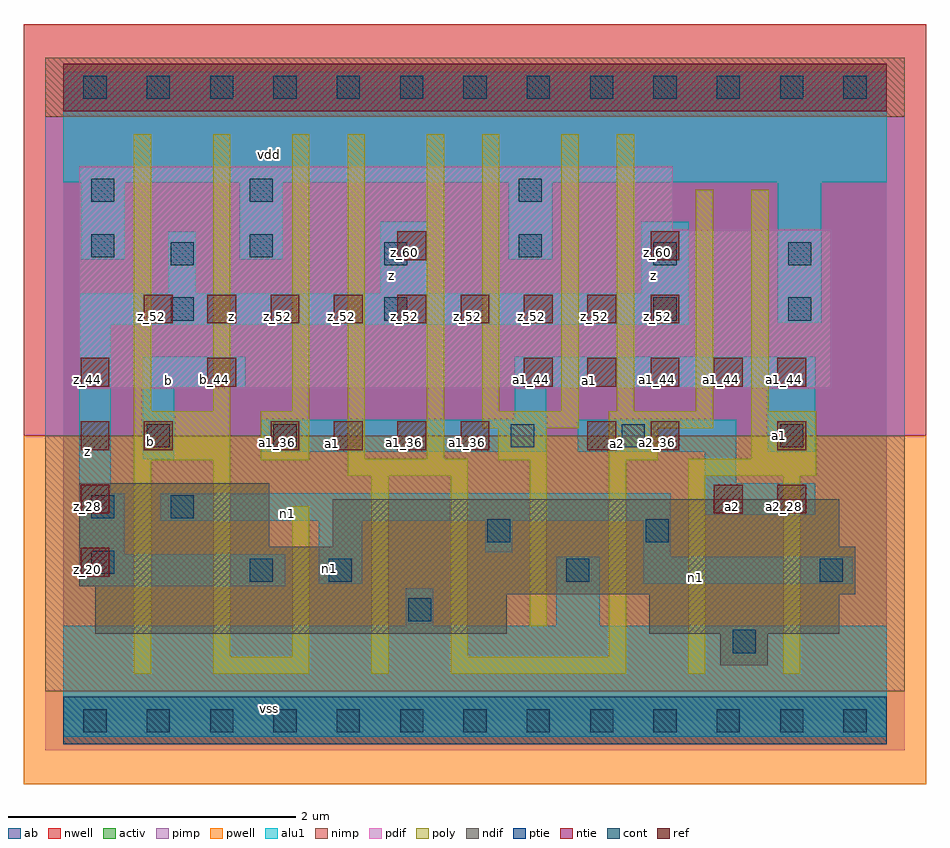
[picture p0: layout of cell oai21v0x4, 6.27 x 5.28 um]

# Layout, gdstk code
import gdstk
lib = gdstk.Library(unit=1e-6, precision=2.5e-09)
def R(c, l, rs):  # rectangles x0, y0, x1, y1
    for r in rs: c.add(gdstk.rectangle(r[:2], r[2:], *l))
def A(c, l, x, y, w, h, nx, ny, dx, dy):  # array of equal rectangles
    R(c, l, [(x+i*dx, y+j*dy, x+i*dx+w, y+j*dy+h) for i in range(nx) for j in range(ny)])
ndif = (3, 0)
pdif = (4, 0)
ntie = (5, 0)
ptie = (6, 0)
ref = (24, 0)
cont = (25, 0)
pwell = (41, 0)
nwell = (42, 0)
activ = (43, 0)
pimp = (44, 0)
nimp = (45, 0)
poly = (46, 0)
alu1 = (49, 0)
ab = (63, 0)

oai21v0x4 = lib.new_cell('oai21v0x4')
R(oai21v0x4, ndif, [(4.565,0.385,4.895,0.605), (0.22,0.605,3.08,0.88), (4.07,0.605,5.39,0.88), (0.22,0.88,5.5,0.935), (0.11,0.935,5.5,1.21), (0.11,1.21,1.43,1.65), (1.87,1.21,5.39,1.54)])
R(oai21v0x4, pdif, [(0.11,2.31,5.335,3.41), (0.11,3.41,4.235,3.85)])
R(oai21v0x4, ntie, [(0,4.235,5.72,4.565)])
R(oai21v0x4, ptie, [(0,-0.165,5.72,0.165)])
A(oai21v0x4, ref, 0.12, 1, 0.2, 0.2, 1, 4, 0, 0.44)
A(oai21v0x4, ref, 1.44, 1.88, 0.2, 0.2, 4, 1, 0.44, 0)
A(oai21v0x4, ref, 3.2, 2.32, 0.2, 0.2, 5, 1, 0.44, 0)
A(oai21v0x4, ref, 0.56, 2.76, 0.2, 0.2, 9, 1, 0.44, 0)
R(oai21v0x4, ref, [(4.52,1.44,4.72,1.64), (4.96,1.44,5.16,1.64), (0.56,1.88,0.76,2.08), (3.64,1.88,3.84,2.08), (4.08,1.88,4.28,2.08), (4.96,1.88,5.16,2.08), (1,2.32,1.2,2.52), (2.32,3.2,2.52,3.4), (4.08,3.2,4.28,3.4)])
A(oai21v0x4, cont, 0.14, -0.08, 0.16, 0.16, 13, 2, 0.44, 4.4)
R(oai21v0x4, cont, [(4.65,0.47,4.81,0.63), (2.395,0.69,2.555,0.85), (1.295,0.965,1.455,1.125), (1.845,0.965,2.005,1.125), (3.495,0.965,3.655,1.125), (5.255,0.965,5.415,1.125), (0.195,1.02,0.355,1.18), (2.945,1.24,3.105,1.4), (4.045,1.24,4.205,1.4), (0.195,1.405,0.355,1.565), (0.745,1.405,0.905,1.565), (0.58,1.9,0.74,2.06), (1.46,1.9,1.62,2.06), (3.11,1.9,3.27,2.06), (3.88,1.9,4.04,2.06), (4.98,1.9,5.14,2.06), (0.745,2.78,0.905,2.94), (2.23,2.78,2.39,2.94), (4.1,2.78,4.26,2.94), (5.035,2.78,5.195,2.94), (0.745,3.165,0.905,3.325), (2.23,3.165,2.39,3.325), (4.1,3.165,4.26,3.325), (5.035,3.165,5.195,3.325), (0.195,3.22,0.355,3.38), (1.295,3.22,1.455,3.38), (3.165,3.22,3.325,3.38), (0.195,3.605,0.355,3.765), (1.295,3.605,1.455,3.765), (3.165,3.605,3.325,3.765)])
R(oai21v0x4, pwell, [(-0.275,-0.44,5.995,1.98)])
R(oai21v0x4, nwell, [(-0.275,1.98,5.995,4.84)])
R(oai21v0x4, activ, [(0,-0.165,5.72,0.165), (4.565,0.385,4.895,0.605), (0.22,0.605,3.08,0.88), (4.07,0.605,5.39,0.88), (0.22,0.88,5.5,0.935), (0.11,0.935,5.5,1.21), (0.11,1.21,1.43,1.65), (1.87,1.21,5.39,1.54), (0.11,2.31,5.335,3.41), (0.11,3.41,4.235,3.85), (0,4.235,5.72,4.565)])
R(oai21v0x4, pimp, [(-0.125,-0.205,5.845,0.205), (-0.125,1.98,5.845,4.195)])
R(oai21v0x4, nimp, [(-0.125,0.205,5.845,1.98), (-0.125,4.195,5.845,4.605)])
A(oai21v0x4, poly, 0.49, 2.15, 0.12, 1.925, 3, 1, 0.55, 0)
R(oai21v0x4, poly, [(0.49,0.325,0.61,1.81), (1.04,0.325,1.71,0.445), (2.14,0.325,2.26,1.7), (2.69,0.325,3.91,0.445), (4.34,0.325,4.46,1.7), (5,0.325,5.12,1.7), (1.04,0.445,1.16,1.81), (1.59,0.445,1.71,1.49), (2.69,0.445,2.81,1.7), (3.79,0.445,3.91,1.81), (3.24,0.655,3.36,1.81), (1.975,1.7,2.81,1.82), (4.34,1.7,5.23,1.82), (0.49,1.81,1.16,2.15), (1.37,1.81,1.71,2.15), (3.02,1.81,3.36,2.03), (3.79,1.81,4.13,2.03), (1.975,1.82,2.095,4.075), (2.525,1.82,2.645,4.075), (4.78,1.82,5.23,2.15), (2.91,2.03,3.58,2.15), (3.79,2.03,4.515,2.15), (2.91,2.15,3.03,4.075), (3.46,2.15,3.58,4.075), (3.845,2.15,3.965,4.075), (4.395,2.15,4.515,3.69), (4.78,2.15,4.9,3.69)])
R(oai21v0x4, alu1, [(0,-0.11,5.72,0.66), (2.38,0.66,2.57,0.92), (3.425,0.66,3.725,1.14), (0.11,0.935,1.54,1.155), (1.775,0.95,2.075,1.39), (4.03,0.95,5.485,1.14), (4.03,1.14,4.22,1.39), (0.11,1.155,0.425,1.58), (2.93,1.17,3.12,1.39), (0.675,1.39,4.22,1.58), (4.455,1.43,5.225,1.65), (0.11,1.58,0.33,2.75), (4.455,1.65,4.675,1.87), (0.55,1.815,0.77,2.31), (1.375,1.87,3.355,2.09), (3.575,1.87,4.675,2.09), (4.895,1.87,5.225,2.31), (3.135,2.09,3.355,2.31), (0.55,2.31,1.265,2.53), (3.135,2.31,5.225,2.53), (0.11,2.75,4.345,2.97), (4.965,2.765,5.265,3.74), (0.73,2.97,0.92,3.395), (2.2,2.97,2.53,3.465), (4.015,2.97,4.345,3.465), (0.125,3.205,0.425,3.74), (1.225,3.205,1.525,3.74), (3.095,3.205,3.395,3.74), (0,3.74,5.72,4.51)])
R(oai21v0x4, ab, [(0,0,5.72,4.4)])
oai21v0x4.add(gdstk.Label('vss', (1.43,0.0825), layer=49, texttype=0))
oai21v0x4.add(gdstk.Label('n1', (4.3925,0.9975), layer=49, texttype=0))
oai21v0x4.add(gdstk.Label('n1', (1.85,1.06), layer=49, texttype=0))
oai21v0x4.add(gdstk.Label('a2', (4.6475,1.485), layer=49, texttype=0))
oai21v0x4.add(gdstk.Label('n1', (1.56,1.4375), layer=49, texttype=0))
oai21v0x4.add(gdstk.Label('a1', (4.9775,1.98), layer=49, texttype=0))
oai21v0x4.add(gdstk.Label('a2', (3.85,1.925), layer=49, texttype=0))
oai21v0x4.add(gdstk.Label('a1', (1.87,1.925), layer=49, texttype=0))
oai21v0x4.add(gdstk.Label('b', (0.605,1.9375), layer=49, texttype=0))
oai21v0x4.add(gdstk.Label('a1', (3.6575,2.365), layer=49, texttype=0))
oai21v0x4.add(gdstk.Label('b', (0.7275,2.365), layer=49, texttype=0))
oai21v0x4.add(gdstk.Label('z', (0.165,1.8725), layer=49, texttype=0))
oai21v0x4.add(gdstk.Label('z', (1.1675,2.805), layer=49, texttype=0))
oai21v0x4.add(gdstk.Label('z', (4.0975,3.0925), layer=49, texttype=0))
oai21v0x4.add(gdstk.Label('z', (2.2825,3.0925), layer=49, texttype=0))
oai21v0x4.add(gdstk.Label('vdd', (1.43,3.9325), layer=49, texttype=0))
oai21v0x4.add(gdstk.Label('a1_44', (5.01,2.37), layer=24, texttype=0))
oai21v0x4.add(gdstk.Label('a1_36', (5.01,1.93), layer=24, texttype=0))
oai21v0x4.add(gdstk.Label('a2_28', (5.01,1.49), layer=24, texttype=0))
oai21v0x4.add(gdstk.Label('a1_44', (4.57,2.37), layer=24, texttype=0))
oai21v0x4.add(gdstk.Label('a2_28', (4.57,1.49), layer=24, texttype=0))
oai21v0x4.add(gdstk.Label('z_60', (4.13,3.25), layer=24, texttype=0))
oai21v0x4.add(gdstk.Label('z_52', (4.13,2.81), layer=24, texttype=0))
oai21v0x4.add(gdstk.Label('a1_44', (4.13,2.37), layer=24, texttype=0))
oai21v0x4.add(gdstk.Label('a2_36', (4.13,1.93), layer=24, texttype=0))
oai21v0x4.add(gdstk.Label('z_52', (3.69,2.81), layer=24, texttype=0))
oai21v0x4.add(gdstk.Label('a1_44', (3.69,2.37), layer=24, texttype=0))
oai21v0x4.add(gdstk.Label('a2_36', (3.69,1.93), layer=24, texttype=0))
oai21v0x4.add(gdstk.Label('z_52', (3.25,2.81), layer=24, texttype=0))
oai21v0x4.add(gdstk.Label('a1_44', (3.25,2.37), layer=24, texttype=0))
oai21v0x4.add(gdstk.Label('z_52', (2.81,2.81), layer=24, texttype=0))
oai21v0x4.add(gdstk.Label('a1_36', (2.81,1.93), layer=24, texttype=0))
oai21v0x4.add(gdstk.Label('z_60', (2.37,3.25), layer=24, texttype=0))
oai21v0x4.add(gdstk.Label('z_52', (2.37,2.81), layer=24, texttype=0))
oai21v0x4.add(gdstk.Label('a1_36', (2.37,1.93), layer=24, texttype=0))
oai21v0x4.add(gdstk.Label('z_44', (0.17,2.37), layer=24, texttype=0))
oai21v0x4.add(gdstk.Label('z_36', (0.17,1.93), layer=24, texttype=0))
oai21v0x4.add(gdstk.Label('z_28', (0.17,1.49), layer=24, texttype=0))
oai21v0x4.add(gdstk.Label('z_20', (0.17,1.05), layer=24, texttype=0))
oai21v0x4.add(gdstk.Label('z_52', (1.93,2.81), layer=24, texttype=0))
oai21v0x4.add(gdstk.Label('a1_36', (1.93,1.93), layer=24, texttype=0))
oai21v0x4.add(gdstk.Label('z_52', (1.49,2.81), layer=24, texttype=0))
oai21v0x4.add(gdstk.Label('a1_36', (1.49,1.93), layer=24, texttype=0))
oai21v0x4.add(gdstk.Label('z_52', (1.05,2.81), layer=24, texttype=0))
oai21v0x4.add(gdstk.Label('b_44', (1.05,2.37), layer=24, texttype=0))
oai21v0x4.add(gdstk.Label('z_52', (0.61,2.81), layer=24, texttype=0))
oai21v0x4.add(gdstk.Label('b_36', (0.61,1.93), layer=24, texttype=0))

lib.write_gds('oai21v0x4.gds')
